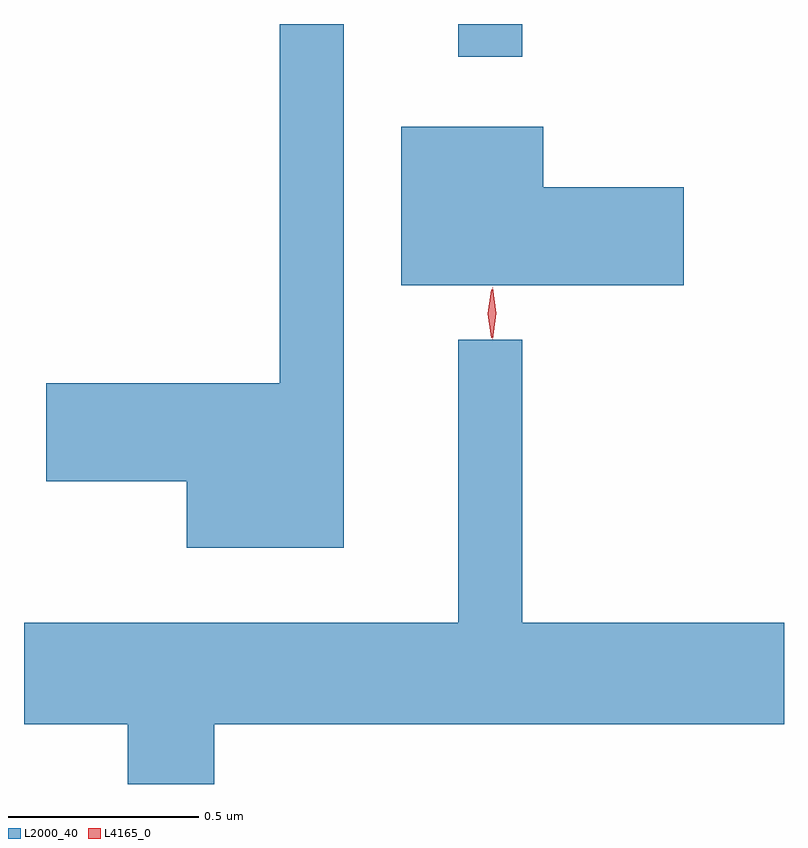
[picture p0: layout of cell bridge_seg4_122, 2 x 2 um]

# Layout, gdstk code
import gdstk
lib = gdstk.Library(unit=1e-6, precision=1e-09)
def R(c, l, rs):  # rectangles x0, y0, x1, y1
    for r in rs: c.add(gdstk.rectangle(r[:2], r[2:], *l))
def P(c, l, *ps):  # polygons
    for p in ps: c.add(gdstk.Polygon(p, *l))
L2000_40 = (2000, 40)
L4165_0 = (4165, 0)

bridge_seg4_122 = lib.new_cell('bridge_seg4_122')
R(bridge_seg4_122, L2000_40, [(806.531,1343.113,806.699,1343.199)])
P(bridge_seg4_122, L2000_40, [(806.229,1343.199),(806.061,1343.199),(806.061,1342.254),(805.446,1342.254),(805.446,1341.996),(805.816,1341.996),(805.816,1341.821),(806.229,1341.821)],
  [(807.124,1342.769),(806.754,1342.769),(806.754,1342.929),(806.381,1342.929),(806.381,1342.511),(807.124,1342.511)],
  [(805.889,1341.356),(807.388,1341.356),(807.388,1341.624),(806.699,1341.624),(806.699,1342.368),(806.531,1342.368),(806.531,1341.624),(805.388,1341.624),(805.388,1341.356),(805.661,1341.356),(805.661,1341.199),(805.889,1341.199)])
P(bridge_seg4_122, L4165_0, [(806.618,1342.373),(806.618,1342.373),(806.608,1342.436),(806.618,1342.5),(806.618,1342.5),(806.619,1342.5),(806.628,1342.436),(806.619,1342.373)],
  [(806.621,1342.37),(806.621,1342.37),(806.611,1342.438),(806.621,1342.505),(806.621,1342.506),(806.622,1342.505),(806.631,1342.438),(806.622,1342.37)])

lib.write_gds('bridge_seg4_122.gds')
